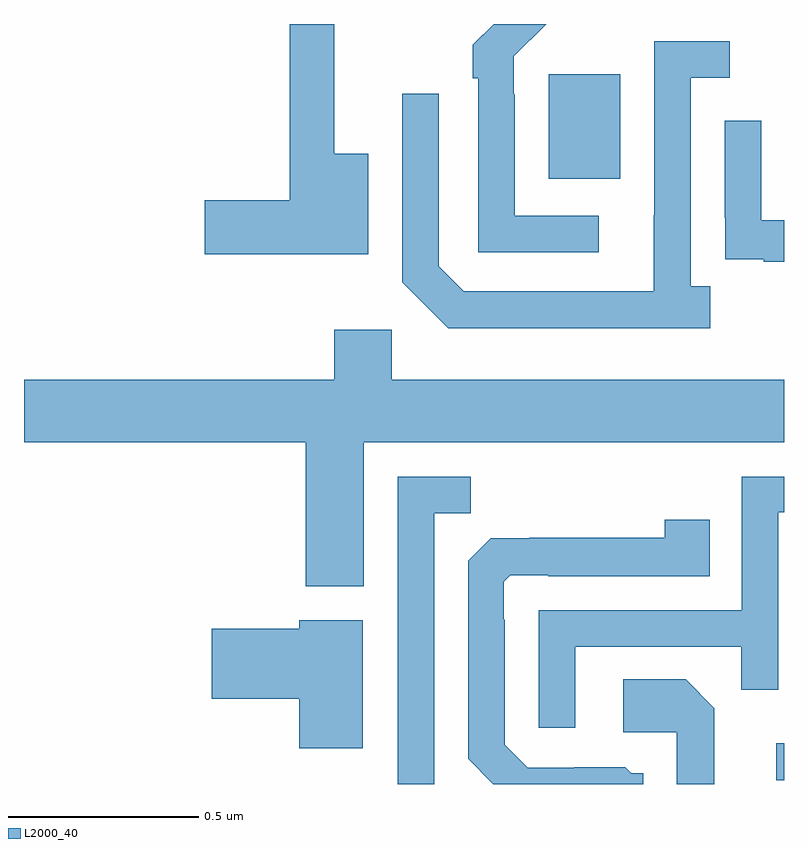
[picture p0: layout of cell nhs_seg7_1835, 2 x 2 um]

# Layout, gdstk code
import gdstk
lib = gdstk.Library(unit=1e-6, precision=1e-09)
def R(c, l, rs):  # rectangles x0, y0, x1, y1
    for r in rs: c.add(gdstk.rectangle(r[:2], r[2:], *l))
def P(c, l, *ps):  # polygons
    for p in ps: c.add(gdstk.Polygon(p, *l))
L2000_40 = (2000, 40)

nhs_seg7_1835 = lib.new_cell('nhs_seg7_1835')
R(nhs_seg7_1835, L2000_40, [(137.979,1049.01,138,1049.107), (137.381,1050.593,137.569,1050.868)])
P(nhs_seg7_1835, L2000_40, [(137.512,1050.495),(137.292,1050.495),(137.292,1050.815),(137.289,1050.815),(137.289,1050.915),(137.374,1051),(137.236,1051),(137.181,1050.945),(137.181,1050.857),(137.196,1050.857),(137.196,1050.399),(137.512,1050.399)],
  [(136.906,1050.658),(136.817,1050.658),(136.817,1051),(136.699,1051),(136.699,1050.536),(136.476,1050.536),(136.476,1050.394),(136.906,1050.394)],
  [(137.806,1050.31),(137.754,1050.31),(137.754,1050.858),(137.857,1050.858),(137.857,1050.954),(137.658,1050.954),(137.658,1050.497),(137.657,1050.497),(137.657,1050.297),(137.157,1050.297),(137.091,1050.363),(137.091,1050.817),(136.995,1050.817),(136.995,1050.321),(137.116,1050.2),(137.806,1050.2)],
  [(138,1050.483),(137.94,1050.483),(137.94,1050.745),(137.844,1050.745),(137.844,1050.49),(137.845,1050.49),(137.845,1050.381),(137.947,1050.381),(137.947,1050.375),(138,1050.375)],
  [(136.894,1049.9),(138,1049.9),(138,1050.064),(136.968,1050.064),(136.968,1050.196),(136.817,1050.196),(136.817,1050.064),(136,1050.064),(136,1049.9),(136.742,1049.9),(136.742,1049.52),(136.894,1049.52)],
  [(137.451,1049.361),(137.887,1049.361),(137.887,1049.248),(137.985,1049.248),(137.985,1049.715),(138,1049.715),(138,1049.808),(137.889,1049.808),(137.889,1049.457),(137.355,1049.457),(137.355,1049.148),(137.451,1049.148)],
  [(137.079,1049.713),(137.175,1049.713),(137.175,1049.808),(136.983,1049.808),(136.983,1049),(137.079,1049)],
  [(137.629,1049.028),(137.598,1049.028),(137.582,1049.044),(137.448,1049.044),(137.448,1049.043),(137.325,1049.043),(137.265,1049.103),(137.265,1049.432),(137.262,1049.432),(137.262,1049.532),(137.28,1049.55),(137.38,1049.55),(137.38,1049.547),(137.804,1049.547),(137.804,1049.695),(137.686,1049.695),(137.686,1049.648),(137.329,1049.648),(137.329,1049.647),(137.228,1049.647),(137.169,1049.588),(137.169,1049.066),(137.235,1049),(137.629,1049)],
  [(136.891,1049.431),(136.724,1049.431),(136.724,1049.408),(136.494,1049.408),(136.494,1049.225),(136.724,1049.225),(136.724,1049.094),(136.891,1049.094)],
  [(137.817,1049.2),(137.741,1049.276),(137.577,1049.276),(137.577,1049.136),(137.718,1049.136),(137.718,1049),(137.817,1049)])

lib.write_gds('nhs_seg7_1835.gds')
